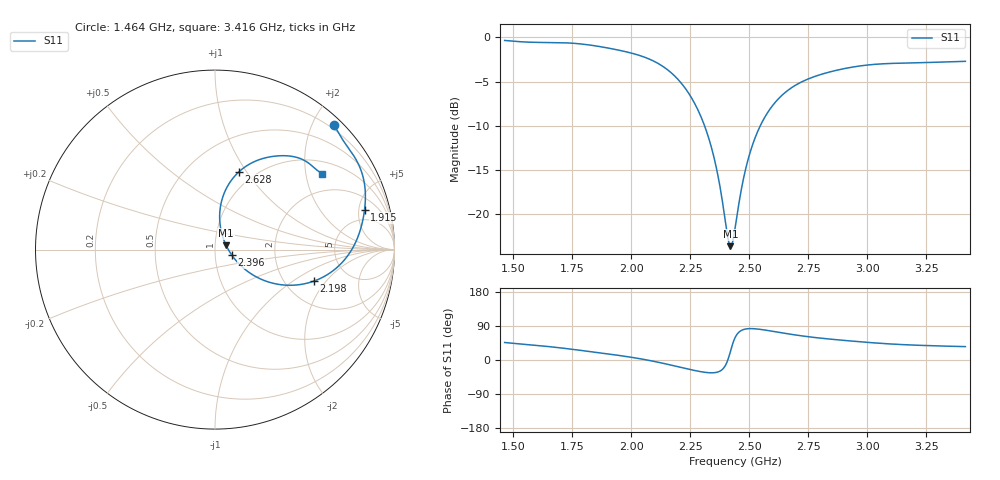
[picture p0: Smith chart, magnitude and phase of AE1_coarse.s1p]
! AE1 openEMS coarse: lumped port at the feed pad (in-plane on F.Cu to the GND copper at (0.50, 0.00)), not de-embedded
# Hz S RI R 50
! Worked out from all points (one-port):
!   801 points, 1.464 GHz to 3.416 GHz, reference 50 ohm
!   lowest |S11| = -23.6 dB at 2.42 GHz (marker M1), VSWR 1.14, Z = 56.5 + j2.83 ohm
!   |S11| at or under -10 dB: 2.311 GHz to 2.547 GHz (235.9 MHz wide, 9.71 % of centre)
!   S11 on the Smith chart (normalised r, x): 1.464 GHz: 0.14, +2.34; 1.915 GHz: 3.34, +5.76; 2.198 GHz: 2.86, -1.51; 2.396 GHz: 1.20, -0.07; 2.628 GHz: 0.85, +0.93; 3.416 GHz: 1.36, +2.47
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1.464e9  0.6636 0.6919
1.708e9  0.7942 0.4859
1.81048e9  0.8336 0.3613
1.9154e9  0.8332 0.2213
1.952e9  0.8251 0.1713
2.0862e9  0.7426 -0.0297
2.13988e9  0.6677 -0.1097
2.196e9  0.5563 -0.1737
2.19844e9  0.5508 -0.1757
2.26432e9  0.387 -0.1977
2.318e9  0.25 -0.1619
2.35948e9  0.1572 -0.1017
2.37656e9  0.1248 -0.0699
2.39608e9  0.0929 -0.0297
2.41072e9  0.0728 0.00259
2.42048e9  0.0613 0.0249
2.43024e9  0.0515 0.0478
2.44e9  0.0433 0.0709
2.4766e9  0.0266 0.1586
2.5132e9  0.0308 0.2426
2.56444e9  0.065 0.3442
2.62788e9  0.1346 0.4346
2.684e9  0.2033 0.4824
2.78648e9  0.3143 0.5181
2.928e9  0.4311 0.5192
3.04756e9  0.5043 0.4933
3.172e9  0.5482 0.4594
3.416e9  0.5964 0.4226
